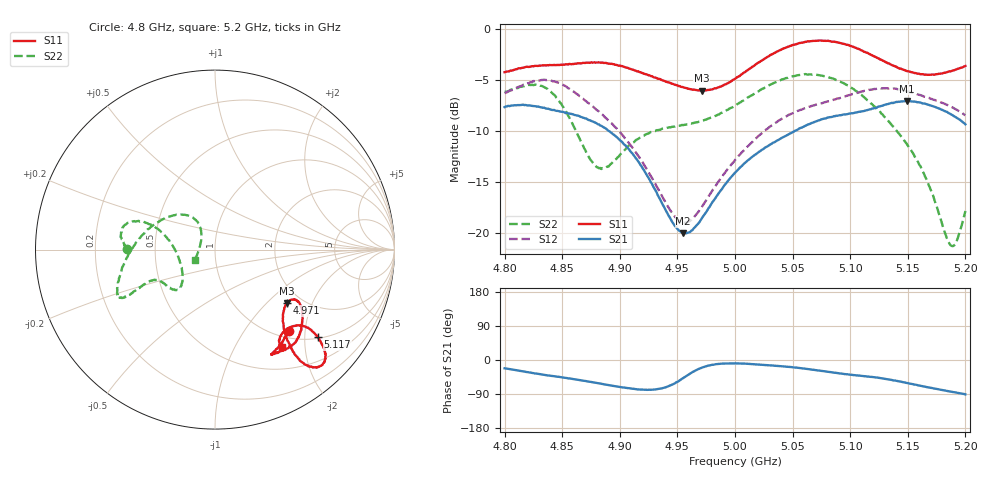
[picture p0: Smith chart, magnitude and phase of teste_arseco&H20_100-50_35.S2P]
! Network Analyzer HP8722D
! Hewlett-Packard
! Data name: Linha & Wilkinson
! Saver's name: Rodrigo Anjos
! Comments: Teste da utilização de aquisição
! continua pelo VNA HP8722D
! Time and date: 6/5/2025 12:51
!  Frequency  S11  S21  S12  S22
# HZ  S  MA R 50
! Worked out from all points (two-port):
!   401 points, 4.8 GHz to 5.2 GHz, reference 50 ohm
!   highest |S21| = -7.07 dB at 5.149 GHz (marker M1); lowest = -20.1 dB at 4.955 GHz (marker M2)
!   |S21| within 3 dB of the highest: start of sweep to 4.891 GHz; 5.051 GHz to end of sweep
!   lowest |S11| = -6.1 dB at 4.971 GHz (marker M3), VSWR 2.98, Z = 83.8 - j66.2 ohm
!   |S11| at or under -10 dB: nowhere
!   |S22| runs from -21.3 to -4.4 dB; largest |S21 - S12| = 0.95
!   S11 on the Smith chart (normalised r, x): 4.8 GHz: 1.13, -1.65; 4.971 GHz: 1.68, -1.32; 5.117 GHz: 1.04, -2.32; 5.2 GHz: 0.82, -1.57
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4.8e9  0.614 -47.7  0.4135 -22.0  0.4837 -175.8  0.4916 179.7
4.821e9  0.6509 -58.4  0.4219 -32.6  0.5404 176.6  0.5316 171.0
4.837e9  0.6647 -61.5  0.406 -40.5  0.5621 167.2  0.5091 163.0
4.85e9  0.6658 -60.1  0.3925 -45.9  0.5334 159.2  0.4205 158.8
4.867e9  0.6788 -54.9  0.369 -53.8  0.4594 150.9  0.2762 166.1
4.878e9  0.6855 -51.3  0.3485 -59.5  0.4099 146.7  0.2152 -175.5
4.886e9  0.6809 -48.4  0.3291 -63.8  0.3747 144.3  0.2073 -158.6
4.909e9  0.6375 -40.5  0.2516 -75.3  0.2709 137.8  0.2707 -133.5
4.934e9  0.5689 -33.2  0.1493 -76.3  0.1612 141.1  0.3196 -135.8
4.955e9  0.5182 -32.4  0.09931 -47.9  0.1118 170.5  0.3373 -144.2
4.971e9  0.498 -36.6  0.1171 -20.6  0.1333 -162.2  0.3532 -150.8
5e9  0.5693 -47.8  0.1968 -9.0  0.2273 -146.9  0.4214 -154.1
5.039e9  0.7874 -52.4  0.2882 -16.1  0.3577 -148.0  0.5595 -152.2
5.067e9  0.872 -48.3  0.3464 -25.3  0.4198 -154.4  0.5973 -155.1
5.096e9  0.8394 -43.1  0.3805 -37.3  0.4676 -162.8  0.5348 -167.2
5.117e9  0.7517 -40.3  0.4029 -44.2  0.5024 -172.5  0.4379 174.2
5.134e9  0.6763 -40.2  0.4307 -51.5  0.5113 177.1  0.3483 153.3
5.149e9  0.6219 -42.7  0.4431 -60.5  0.4956 168.8  0.2733 134.5
5.165e9  0.5973 -48.0  0.4297 -70.5  0.4642 161.4  0.1887 122.6
5.187e9  0.6192 -54.9  0.3828 -83.3  0.4164 153.6  0.08691 158.2
5.192e9  0.6338 -55.4  0.368 -86.0  0.4025 152.1  0.0901 -178.8
5.2e9  0.6582 -55.7  0.3403 -90.7  0.3774 149.5  0.1277 -152.5
